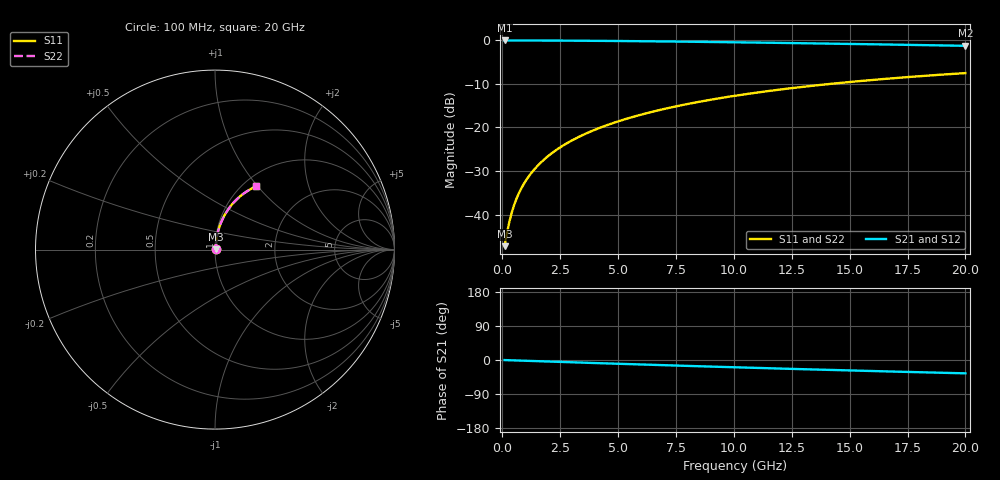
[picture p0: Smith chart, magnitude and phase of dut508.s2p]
! Touchstone file exported from HFSS 2024.1.0
!  File:  C:/UserFiles/LocalFiles/RDL_TSV_Batchsim/temp_RDL_top_508_1779679333.aedt
!  Generated:  11:24:31 AM May 25, 2026
!  Design:  RDL_top
!  Project:  temp_RDL_top_508_1779679333
!  Setup:  Setup1
!  Solution:  Sweep
! Variables:
!  dtsv = 10.80580581um
!  hbump = 3um
!  htsv = 55.67um
!  ldown = 100um
!  lrdl = 435.99um
!  p = 40
!  p1 = 47.9um
!  rhole = 1um
!  t = 450um
!  tdown = 3.915915916um
!  trdl = 3.84um
!  wdown = 15.38538539um
!  wrdl = 11.41um
# GHz S MA R 50.000000
! Terminal data exported
! Port[1] = Box2_T1
! Port[2] = Box2_T2
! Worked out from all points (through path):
!   200 points, 100 MHz to 20 GHz, reference 50 ohm
!   highest |S21| = -0.03 dB at 100 MHz (marker M1); lowest = -1.3 dB at 20 GHz (marker M2)
!   group delay of S21, straight-line fit = 4.89 ps
!   lowest |S11| = -47.2 dB at 100 MHz (marker M3), VSWR 1.01, Z = 50.4 + j0.245 ohm
!   |S11| at or under -10 dB: start of sweep to 14.17 GHz
!   |S22| runs from -47.2 to -7.5 dB; largest |S21 - S12| = 4.1e-15
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0.1  0.004348 34.1  0.9964 -0.2  0.9964 -0.2  0.004348 34.1
! Gamma 0 0 0 0
! Port Impedance 50 0 50 0
0.2  0.006084 53.0  0.9963 -0.4  0.9963 -0.4  0.006084 53.0
0.3  0.008171 62.7  0.9963 -0.6  0.9963 -0.6  0.008171 62.7
0.4  0.01038 68.2  0.9962 -0.8  0.9962 -0.8  0.01038 68.2
0.5  0.01264 71.7  0.996 -1.0  0.996 -1.0  0.01264 71.7
0.6  0.01493 74.1  0.9959 -1.2  0.9959 -1.2  0.01493 74.1
0.8  0.01953 77.1  0.9957 -1.6  0.9957 -1.6  0.01953 77.1
1.1  0.02647 79.5  0.9953 -2.2  0.9953 -2.2  0.02647 79.5
1.5  0.03578 81.0  0.9946 -3.0  0.9946 -3.0  0.03578 81.0
1.8  0.04279 81.6  0.994 -3.7  0.994 -3.7  0.04279 81.6
2.1  0.0498 81.8  0.9933 -4.3  0.9933 -4.3  0.0498 81.8
2.7  0.06384 81.8  0.9917 -5.5  0.9917 -5.5  0.06384 81.8
3.5  0.08254 81.3  0.9889 -7.0  0.9889 -7.0  0.08254 81.3
4.2  0.09886 80.6  0.9861 -8.4  0.9861 -8.4  0.09886 80.6
5  0.1174 79.7  0.9823 -10.0  0.9823 -10.0  0.1174 79.7
5.9  0.1382 78.5  0.9774 -11.7  0.9774 -11.7  0.1382 78.5
6.8  0.1588 77.2  0.9721 -13.4  0.9721 -13.4  0.1588 77.2
8.3  0.1926 74.9  0.9623 -16.1  0.9623 -16.1  0.1926 74.9
10.1  0.2322 72.1  0.9493 -19.3  0.9493 -19.3  0.2322 72.1
13.4  0.3011 66.9  0.9229 -25.0  0.9229 -25.0  0.301 66.9
16.7  0.3641 61.8  0.8945 -30.3  0.8945 -30.3  0.3641 61.8
20  0.4208 57.0  0.8649 -35.2  0.8649 -35.2  0.4207 57.0
